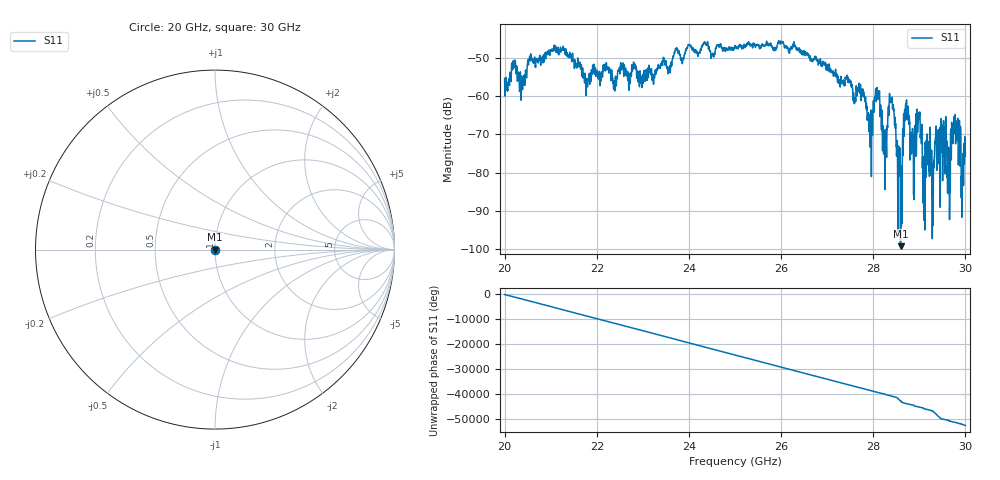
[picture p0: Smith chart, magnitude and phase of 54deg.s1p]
#  HZ  S  RI  R  50.00
! Rohde & Schwarz ZVA40 4Ports - Version 3.90 - 1145.1110k42 SN: 100403
! Date: 2023-10-03 10:49:14
! Measurement: S12
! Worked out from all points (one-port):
!   5001 points, 20 GHz to 30 GHz, reference 50 ohm
!   lowest |S11| = -99.2 dB at 28.59 GHz (marker M1), VSWR 1.00, Z = 50 + j0.000651 ohm
!   |S11| at or under -10 dB: start of sweep to end of sweep
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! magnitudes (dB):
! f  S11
! 20 GHz  -55.3
! 21.25 GHz  -48.0
! 21.78 GHz  -55.4
! 22.19 GHz  -52.8
! 22.4 GHz  -56.9
! 22.5 GHz  -52.9
! 23.24 GHz  -54.6
! 23.75 GHz  -47.6
! 25 GHz  -46.8
! 26.25 GHz  -47.0
! 27.5 GHz  -56.3
! 27.79 GHz  -58.9
! 27.92 GHz  -65.3
! 28.09 GHz  -60.6
! 28.25 GHz  -75.2
! 28.4 GHz  -61.2
! 28.59 GHz  -99.2
! 28.69 GHz  -64.8
! 28.75 GHz  -63.7
! 28.85 GHz  -70.4
! 28.99 GHz  -65.4
! 29.12 GHz  -78.8
! 29.29 GHz  -79.6
! 29.51 GHz  -78.6
! 29.63 GHz  -81.9
! 29.79 GHz  -71.8
! 29.93 GHz  -81.0
! 30 GHz  -75.6
